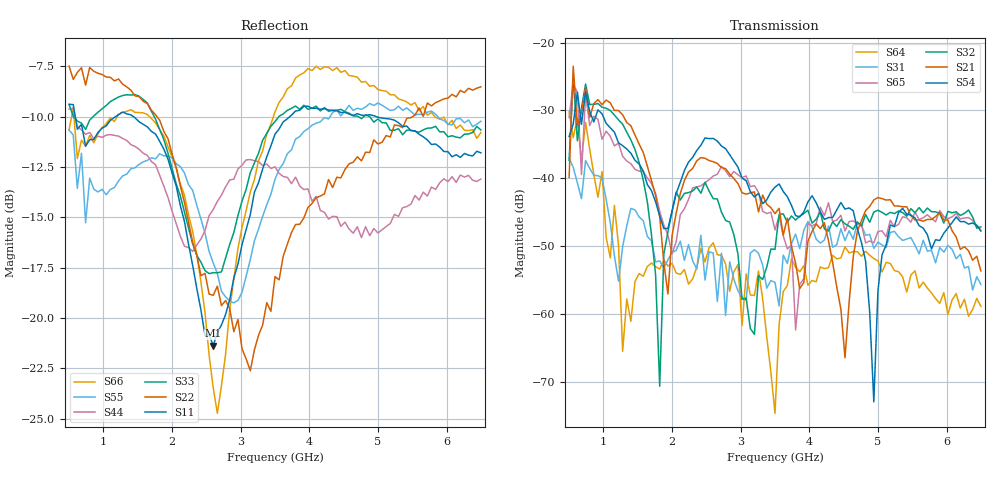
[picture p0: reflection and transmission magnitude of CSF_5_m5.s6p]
!Keysight Technologies,M9804A,MY58100912,A.14.10.03
!Date: Thursday, April 27, 2023 10:28:33
!Correction: S11(C  6-Port  )
!S12(C  6-Port  )
!S13(C  6-Port  )
!S14(C  6-Port  )
!S15(C  6-Port  )
!S16(C  6-Port  )
!S21(C  6-Port  )
!S22(C  6-Port  )
!S23(C  6-Port  )
!S24(C  6-Port  )
!S25(C  6-Port  )
!S26(C  6-Port  )
!S31(C  6-Port  )
!S32(C  6-Port  )
!S33(C  6-Port  )
!S34(C  6-Port  )
!S35(C  6-Port  )
!S36(C  6-Port  )
!S41(C  6-Port  )
!S42(C  6-Port  )
!S43(C  6-Port  )
!S44(C  6-Port  )
!S45(C  6-Port  )
!S46(C  6-Port  )
!S51(C  6-Port  )
!S52(C  6-Port  )
!S53(C  6-Port  )
!S54(C  6-Port  )
!S55(C  6-Port  )
!S56(C  6-Port  )
!S61(C  6-Port  )
!S62(C  6-Port  )
!S63(C  6-Port  )
!S64(C  6-Port  )
!S65(C  6-Port  )
!S66(C  6-Port  )
!S6P File: Measurement: :
# Hz S  RI  R 50
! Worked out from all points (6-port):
!   101 points, 500 MHz to 6.5 GHz, reference 50 ohm
!   strongest paths, dB at 500 MHz, 2 GHz, 3.5 GHz, 5 GHz, 6.5 GHz:
!     S54: -33.8, -44.9, -41.3, -56.6, -47.8
!     S21: -39.9, -48.5, -45.2, -42.8, -53.7
!     S32: -37.3, -44.9, -50.5, -44.7, -47.2
!     S65: -31.0, -51.1, -47.6, -47.9, -47.6
!     S31: -37.1, -51.0, -55.4, -49.4, -55.7
!     S64: -30.2, -52.6, -74.7, -52.2, -58.9
!   lowest |S11| = -21.4 dB at 2.6 GHz (marker M1), VSWR 1.19, Z = 42.4 + j2.19 ohm
!   |S11| at or under -10 dB: 589.5 MHz to 1.175 GHz (585.2 MHz wide, 66.3 % of centre); 1.438 GHz to 3.713 GHz (2.275 GHz wide, 88.3 % of centre); 4.98 GHz to end of sweep
